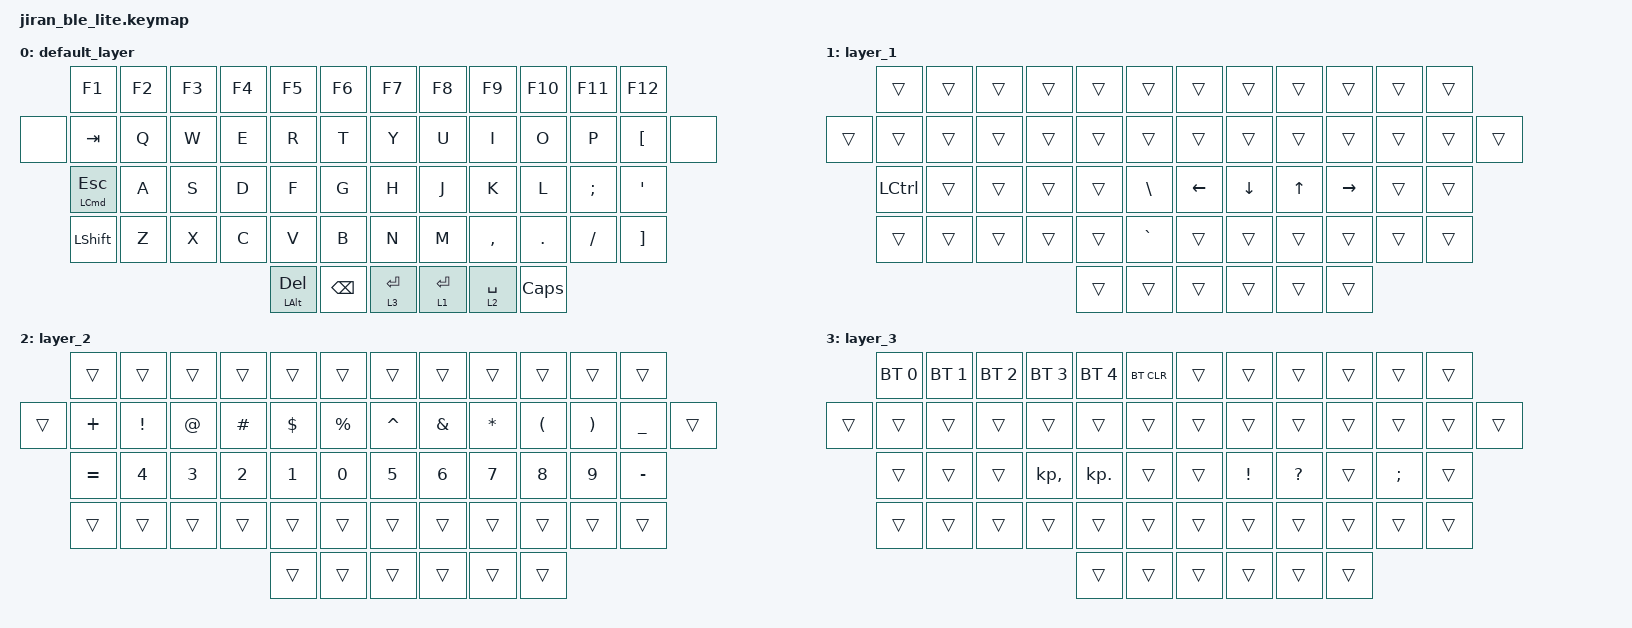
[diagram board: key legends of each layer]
/*
 * Copyright (c) 2021 The ZMK Contributors
 *
 * SPDX-License-Identifier: MIT
 */

#include <behaviors.dtsi>
#include <dt-bindings/zmk/bt.h>
#include <dt-bindings/zmk/keys.h>

/ {
    keymap {
        compatible = "zmk,keymap";

        default_layer {
            bindings = <
       &kp F1                   &kp F2  &kp F3  &kp F4  &kp F5               &kp F6         &kp F7       &kp F8       &kp F9       &kp F10   &kp F11   &kp F12
&none  &kp TAB                  &kp Q   &kp W   &kp E   &kp R                &kp T          &kp Y        &kp U        &kp I        &kp O     &kp P     &kp LBKT           &none
       &mt LEFT_COMMAND ESCAPE  &kp A   &kp S   &kp D   &kp F                &kp G          &kp H        &kp J        &kp K        &kp L     &kp SEMI  &kp SQT
       &kp LEFT_SHIFT           &kp Z   &kp X   &kp C   &kp V                &kp B          &kp N        &kp M        &kp COMMA    &kp DOT   &kp FSLH  &kp RIGHT_BRACKET
                                                        &mt LEFT_ALT DELETE  &kp BACKSPACE  &lt 3 ENTER  &lt 1 ENTER  &lt 2 SPACE  &kp CAPS
            >;
        };

        layer_1 {
            bindings = <
        &trans            &trans  &trans  &trans  &trans  &trans         &trans    &trans    &trans  &trans     &trans  &trans
&trans  &trans            &trans  &trans  &trans  &trans  &trans         &trans    &trans    &trans  &trans     &trans  &trans  &trans
        &kp LEFT_CONTROL  &trans  &trans  &trans  &trans  &kp BACKSLASH  &kp LEFT  &kp DOWN  &kp UP  &kp RIGHT  &trans  &trans
        &trans            &trans  &trans  &trans  &trans  &kp GRAVE      &trans    &trans    &trans  &trans     &trans  &trans
                                                  &trans  &trans         &trans    &trans    &trans  &trans
            >;
        };

        layer_2 {
            bindings = <
        &trans     &trans           &trans  &trans    &trans      &trans       &trans     &trans         &trans        &trans                &trans                 &trans
&trans  &kp PLUS   &kp EXCLAMATION  &kp AT  &kp HASH  &kp DOLLAR  &kp PERCENT  &kp CARET  &kp AMPERSAND  &kp ASTERISK  &kp LEFT_PARENTHESIS  &kp RIGHT_PARENTHESIS  &kp UNDERSCORE  &trans
        &kp EQUAL  &kp N4           &kp N3  &kp N2    &kp N1      &kp N0       &kp N5     &kp N6         &kp N7        &kp N8                &kp N9                 &kp MINUS
        &trans     &trans           &trans  &trans    &trans      &trans       &trans     &trans         &trans        &trans                &trans                 &trans
                                                      &trans      &trans       &trans     &trans         &trans        &trans
            >;
        };

        layer_3 {
            bindings = <
        &bt BT_SEL 0  &bt BT_SEL 1  &bt BT_SEL 2  &bt BT_SEL 3  &bt BT_SEL 4  &bt BT_CLR  &trans  &trans           &trans        &trans  &trans         &trans
&trans  &trans        &trans        &trans        &trans        &trans        &trans      &trans  &trans           &trans        &trans  &trans         &trans  &trans
        &trans        &trans        &trans        &kp KP_COMMA  &kp KP_DOT    &trans      &trans  &kp EXCLAMATION  &kp QUESTION  &trans  &kp SEMICOLON  &trans
        &trans        &trans        &trans        &trans        &trans        &trans      &trans  &trans           &trans        &trans  &trans         &trans
                                                                &trans        &trans      &trans  &trans           &trans        &trans
            >;
        };
    };
};
